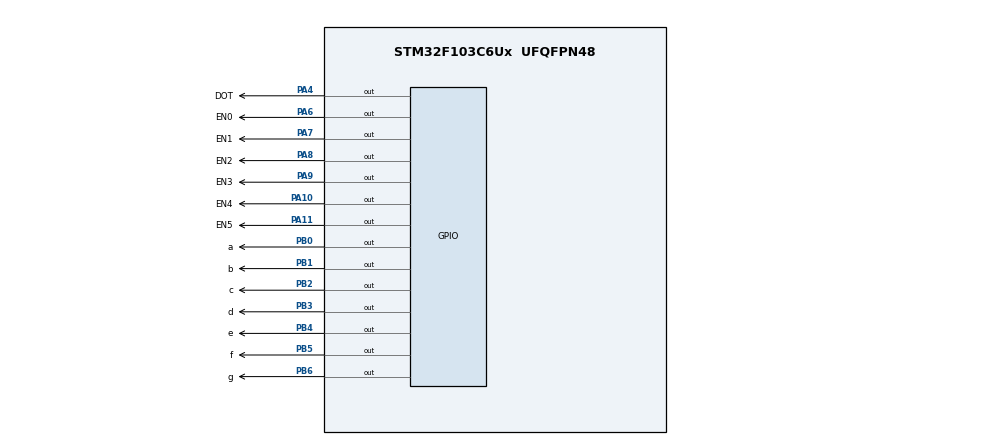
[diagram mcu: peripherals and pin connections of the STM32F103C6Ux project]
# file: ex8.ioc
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Mcu.Family=STM32F1
Mcu.Name=STM32F103C6Ux
Mcu.Package=UFQFPN48
NVIC.PriorityGroup=NVIC_PRIORITYGROUP_4
NVIC.TIM2_IRQn=true\:0\:0\:false\:false\:true\:true\:true
PA10.GPIO_Label=EN4
PA10.Signal=GPIO_Output
PA11.GPIO_Label=EN5
PA11.Signal=GPIO_Output
PA4.GPIO_Label=DOT
PA4.Signal=GPIO_Output
PA6.GPIO_Label=EN0
PA6.Signal=GPIO_Output
PA7.GPIO_Label=EN1
PA7.Signal=GPIO_Output
PA8.GPIO_Label=EN2
PA8.Signal=GPIO_Output
PA9.GPIO_Label=EN3
PA9.Signal=GPIO_Output
PB0.GPIO_Label=a
PB0.Signal=GPIO_Output
PB1.GPIO_Label=b
PB1.Signal=GPIO_Output
PB2.GPIO_Label=c
PB2.Signal=GPIO_Output
PB3.GPIO_Label=d
PB3.Signal=GPIO_Output
PB4.GPIO_Label=e
PB4.Signal=GPIO_Output
PB5.GPIO_Label=f
PB5.Signal=GPIO_Output
PB6.GPIO_Label=g
PB6.Signal=GPIO_Output
ProjectManager.HeapSize=0x200
ProjectManager.StackSize=0x400
ProjectManager.TargetToolchain=STM32CubeIDE
RCC.APB1Freq_Value=8000000
RCC.APB2Freq_Value=8000000
TIM2.Period=9
TIM2.Prescaler=7999
VP_SYS_VS_ND.Mode=No_Debug
VP_TIM2_VS_ClockSourceINT.Mode=Internal
board=custom

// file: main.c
/* USER CODE BEGIN Header */
/**
  ******************************************************************************
  * @file           : main.c
  * @brief          : Main program body
  ******************************************************************************
  * @attention
  *
  * <h2><center>&copy; Copyright (c) 2022 STMicroelectronics.
  * All rights reserved.</center></h2>
  *
  * This software component is licensed by ST under BSD 3-Clause license,
  * the "License"; You may not use this file except in compliance with the
  * License. You may obtain a copy of the License at:
  *                        opensource.org/licenses/BSD-3-Clause
  *
  ******************************************************************************
  */
/* USER CODE END Header */
#include "main.h"

TIM_HandleTypeDef htim2;

void SystemClock_Config(void);
static void MX_GPIO_Init(void);
static void MX_TIM2_Init(void);

/* USER CODE BEGIN 0 */
int timer0_counter = 0;
int timer0_flag = 0;
int timer1_counter = 0;
int timer1_flag = 0;
int TIMER_CYCLE = 10;
int index_led = 0;
void setTimer0(int duration){
	timer0_counter = duration/TIMER_CYCLE;
	timer0_flag= 0;
}
void timer_run0(){
	if (timer0_counter > 0){
		timer0_counter--;
		if (timer0_counter == 0) timer0_flag = 1;
	}
}
void setTimer1(int duration){
	timer1_counter = duration/TIMER_CYCLE;
	timer1_flag= 0;
}
void timer_run1(){
	if (timer1_counter > 0){
		timer1_counter--;
		if (timer1_counter == 0) timer1_flag = 1;
	}
}
/* USER CODE END 0 */

int main(void)
{

  /* MCU Configuration--------------------------------------------------------*/

  /* Reset of all peripherals, Initializes the Flash interface and the Systick. */
  HAL_Init();

  /* Configure the system clock */
  SystemClock_Config();

  /* Initialize all configured peripherals */
  MX_GPIO_Init();
  MX_TIM2_Init();
  /* USER CODE BEGIN 2 */
  HAL_TIM_Base_Start_IT(&htim2);
  /* USER CODE END 2 */

  /* Infinite loop */
  /* USER CODE BEGIN WHILE */

  int hour = 15, minute = 38, second = 50;
  setTimer0(1000);
  setTimer1(500);
  while (1)
  {
    /* USER CODE END WHILE */

    /* USER CODE BEGIN 3 */
	  	if (timer0_flag == 1){
	  		setTimer0(1000);
	  		second++;
	  		HAL_GPIO_TogglePin(DOT_GPIO_Port, DOT_Pin);
	  	}
	  	if (second >=60){
	  		second = 0;
	  		minute++;
	  	}
	  	if (minute >= 60){
	  		minute = 0;
	  		hour++;
	  	}
	  	if (hour>=24){
	  		hour = 0;
	  	}
        updateClockBuffer(hour,minute);
        if (timer1_flag == 1){
        	  		setTimer1(500);
        	  		update7SEG(index_led++);
        }

  }
  /* USER CODE END 3 */
}

void SystemClock_Config(void)
{
  RCC_OscInitTypeDef RCC_OscInitStruct = {0};
  RCC_ClkInitTypeDef RCC_ClkInitStruct = {0};

  /** Initializes the RCC Oscillators according to the specified parameters
  * in the RCC_OscInitTypeDef structure.
  */
  RCC_OscInitStruct.OscillatorType = RCC_OSCILLATORTYPE_HSI;
  RCC_OscInitStruct.HSIState = RCC_HSI_ON;
  RCC_OscInitStruct.HSICalibrationValue = RCC_HSICALIBRATION_DEFAULT;
  RCC_OscInitStruct.PLL.PLLState = RCC_PLL_NONE;
  if (HAL_RCC_OscConfig(&RCC_OscInitStruct) != HAL_OK)
  {
    Error_Handler();
  }
  /** Initializes the CPU, AHB and APB buses clocks
  */
  RCC_ClkInitStruct.ClockType = RCC_CLOCKTYPE_HCLK|RCC_CLOCKTYPE_SYSCLK
                              |RCC_CLOCKTYPE_PCLK1|RCC_CLOCKTYPE_PCLK2;
  RCC_ClkInitStruct.SYSCLKSource = RCC_SYSCLKSOURCE_HSI;
  RCC_ClkInitStruct.AHBCLKDivider = RCC_SYSCLK_DIV1;
  RCC_ClkInitStruct.APB1CLKDivider = RCC_HCLK_DIV1;
  RCC_ClkInitStruct.APB2CLKDivider = RCC_HCLK_DIV1;

  if (HAL_RCC_ClockConfig(&RCC_ClkInitStruct, FLASH_LATENCY_0) != HAL_OK)
  {
    Error_Handler();
  }
}

static void MX_TIM2_Init(void)
{

  TIM_ClockConfigTypeDef sClockSourceConfig = {0};
  TIM_MasterConfigTypeDef sMasterConfig = {0};

  htim2.Instance = TIM2;
  htim2.Init.Prescaler = 7999;
  htim2.Init.CounterMode = TIM_COUNTERMODE_UP;
  htim2.Init.Period = 9;
  htim2.Init.ClockDivision = TIM_CLOCKDIVISION_DIV1;
  htim2.Init.AutoReloadPreload = TIM_AUTORELOAD_PRELOAD_DISABLE;
  if (HAL_TIM_Base_Init(&htim2) != HAL_OK)
  {
    Error_Handler();
  }
  sClockSourceConfig.ClockSource = TIM_CLOCKSOURCE_INTERNAL;
  if (HAL_TIM_ConfigClockSource(&htim2, &sClockSourceConfig) != HAL_OK)
  {
    Error_Handler();
  }
  sMasterConfig.MasterOutputTrigger = TIM_TRGO_RESET;
  sMasterConfig.MasterSlaveMode = TIM_MASTERSLAVEMODE_DISABLE;
  if (HAL_TIMEx_MasterConfigSynchronization(&htim2, &sMasterConfig) != HAL_OK)
  {
    Error_Handler();
  }

}

static void MX_GPIO_Init(void)
{
  GPIO_InitTypeDef GPIO_InitStruct = {0};

  /* GPIO Ports Clock Enable */
  __HAL_RCC_GPIOA_CLK_ENABLE();
  __HAL_RCC_GPIOB_CLK_ENABLE();

  /*Configure GPIO pin Output Level */
  HAL_GPIO_WritePin(GPIOA, DOT_Pin|EN0_Pin|EN1_Pin|EN2_Pin
                          |EN3_Pin|EN4_Pin|EN5_Pin, GPIO_PIN_RESET);

  /*Configure GPIO pin Output Level */
  HAL_GPIO_WritePin(GPIOB, a_Pin|b_Pin|c_Pin|d_Pin
                          |e_Pin|f_Pin|g_Pin, GPIO_PIN_RESET);

  /*Configure GPIO pins : DOT_Pin EN0_Pin EN1_Pin EN2_Pin
                           EN3_Pin EN4_Pin EN5_Pin */
  GPIO_InitStruct.Pin = DOT_Pin|EN0_Pin|EN1_Pin|EN2_Pin
                          |EN3_Pin|EN4_Pin|EN5_Pin;
  GPIO_InitStruct.Mode = GPIO_MODE_OUTPUT_PP;
  GPIO_InitStruct.Pull = GPIO_NOPULL;
  GPIO_InitStruct.Speed = GPIO_SPEED_FREQ_LOW;
  HAL_GPIO_Init(GPIOA, &GPIO_InitStruct);

  /*Configure GPIO pins : a_Pin b_Pin c_Pin d_Pin
                           e_Pin f_Pin g_Pin */
  GPIO_InitStruct.Pin = a_Pin|b_Pin|c_Pin|d_Pin
                          |e_Pin|f_Pin|g_Pin;
  GPIO_InitStruct.Mode = GPIO_MODE_OUTPUT_PP;
  GPIO_InitStruct.Pull = GPIO_NOPULL;
  GPIO_InitStruct.Speed = GPIO_SPEED_FREQ_LOW;
  HAL_GPIO_Init(GPIOB, &GPIO_InitStruct);

}

/* USER CODE BEGIN 4 */
const int MAX_LED = 4;

int led_buffer[4];
void updateClockBuffer(int hour, int minute){
	  int a = hour%10;
	  hour = hour/10;
	  led_buffer[0]= hour;
	  led_buffer[1] = a;
	  int b = minute%10;
	  minute = minute/10;
	  led_buffer[2]= minute;
	  led_buffer[3] = b;
}
void update7SEG (int index) {
   switch (index) {
     case 0:
       // Display the first 7 SEG with led_buffer [0]
  	  HAL_GPIO_WritePin(EN0_GPIO_Port, EN0_Pin,0);
  	  HAL_GPIO_WritePin(EN1_GPIO_Port, EN1_Pin,1);
	  HAL_GPIO_WritePin(EN2_GPIO_Port, EN2_Pin,1);
	  HAL_GPIO_WritePin(EN3_GPIO_Port, EN3_Pin,1);
       Display7SEG(led_buffer[index]);
       break ;
     case 1:
       // Display the second 7 SEG with led_buffer [1]
       HAL_GPIO_WritePin(EN0_GPIO_Port, EN0_Pin,1);
       HAL_GPIO_WritePin(EN1_GPIO_Port, EN1_Pin,0);
       HAL_GPIO_WritePin(EN2_GPIO_Port, EN2_Pin,1);
       HAL_GPIO_WritePin(EN3_GPIO_Port, EN3_Pin,1);
       Display7SEG(led_buffer[index]);
       break ;
     case 2:
       // Display the third 7 SEG with led_buffer [2]
    	 HAL_GPIO_WritePin(EN0_GPIO_Port, EN0_Pin,1);
    	 HAL_GPIO_WritePin(EN1_GPIO_Port, EN1_Pin,1);
    	 HAL_GPIO_WritePin(EN2_GPIO_Port, EN2_Pin,0);
    	 HAL_GPIO_WritePin(EN3_GPIO_Port, EN3_Pin,1);
       Display7SEG(led_buffer[index]);
       break ;
     case 3:
       // Display the forth 7 SEG with led_buffer [3]
    	 HAL_GPIO_WritePin(EN0_GPIO_Port, EN0_Pin,1);
    	  	 HAL_GPIO_WritePin(EN1_GPIO_Port, EN1_Pin,1);
    		 HAL_GPIO_WritePin(EN2_GPIO_Port, EN2_Pin,1);
    		 HAL_GPIO_WritePin(EN3_GPIO_Port, EN3_Pin,0);
       index_led = 0;
       Display7SEG(led_buffer[index]);
       break ;

     default :
       break ;
   }
}
void Display7SEG(int count){
	switch (count) {
		case 0:
			HAL_GPIO_WritePin(a_GPIO_Port, a_Pin, 0);
			HAL_GPIO_WritePin(b_GPIO_Port, b_Pin, 0);
			HAL_GPIO_WritePin(c_GPIO_Port, c_Pin, 0);
			HAL_GPIO_WritePin(d_GPIO_Port, d_Pin, 0);
			HAL_GPIO_WritePin(e_GPIO_Port, e_Pin, 0);
			HAL_GPIO_WritePin(f_GPIO_Port, f_Pin, 0);
			HAL_GPIO_WritePin(g_GPIO_Port, g_Pin, 1);
			break;
		case 1:
				HAL_GPIO_WritePin(a_GPIO_Port, a_Pin, 1);
				HAL_GPIO_WritePin(b_GPIO_Port, b_Pin, 0);
				HAL_GPIO_WritePin(c_GPIO_Port, c_Pin, 0);
				HAL_GPIO_WritePin(d_GPIO_Port, d_Pin, 1);
				HAL_GPIO_WritePin(e_GPIO_Port, e_Pin, 1);
				HAL_GPIO_WritePin(f_GPIO_Port, f_Pin, 1);
				HAL_GPIO_WritePin(g_GPIO_Port, g_Pin, 1);
				break;
		case 2:
				HAL_GPIO_WritePin(a_GPIO_Port, a_Pin, 0);
				HAL_GPIO_WritePin(b_GPIO_Port, b_Pin, 0);
				HAL_GPIO_WritePin(c_GPIO_Port, c_Pin, 1);
				HAL_GPIO_WritePin(d_GPIO_Port, d_Pin, 0);
				HAL_GPIO_WritePin(e_GPIO_Port, e_Pin, 0);
				HAL_GPIO_WritePin(f_GPIO_Port, f_Pin, 1);
				HAL_GPIO_WritePin(g_GPIO_Port, g_Pin, 0);
				break;
		case 3:
				HAL_GPIO_WritePin(a_GPIO_Port, a_Pin, 0);
				HAL_GPIO_WritePin(b_GPIO_Port, b_Pin, 0);
				HAL_GPIO_WritePin(c_GPIO_Port, c_Pin, 0);
				HAL_GPIO_WritePin(d_GPIO_Port, d_Pin, 0);
				HAL_GPIO_WritePin(e_GPIO_Port, e_Pin, 1);
				HAL_GPIO_WritePin(f_GPIO_Port, f_Pin, 1);
				HAL_GPIO_WritePin(g_GPIO_Port, g_Pin, 0);
				break;
		case 4:
				HAL_GPIO_WritePin(a_GPIO_Port, a_Pin, 1);
				HAL_GPIO_WritePin(b_GPIO_Port, b_Pin, 0);
				HAL_GPIO_WritePin(c_GPIO_Port, c_Pin, 0);
				HAL_GPIO_WritePin(d_GPIO_Port, d_Pin, 1);
				HAL_GPIO_WritePin(e_GPIO_Port, e_Pin, 1);
				HAL_GPIO_WritePin(f_GPIO_Port, f_Pin, 0);
				HAL_GPIO_WritePin(g_GPIO_Port, g_Pin, 0);
				break;
		case 5:
				HAL_GPIO_WritePin(a_GPIO_Port, a_Pin, 0);
				HAL_GPIO_WritePin(b_GPIO_Port, b_Pin, 1);
				HAL_GPIO_WritePin(c_GPIO_Port, c_Pin, 0);
				HAL_GPIO_WritePin(d_GPIO_Port, d_Pin, 0);
				HAL_GPIO_WritePin(e_GPIO_Port, e_Pin, 1);
				HAL_GPIO_WritePin(f_GPIO_Port, f_Pin, 0);
				HAL_GPIO_WritePin(g_GPIO_Port, g_Pin, 0);
				break;
		case 6:
				HAL_GPIO_WritePin(a_GPIO_Port, a_Pin, 0);
				HAL_GPIO_WritePin(b_GPIO_Port, b_Pin, 1);
				HAL_GPIO_WritePin(c_GPIO_Port, c_Pin, 0);
				HAL_GPIO_WritePin(d_GPIO_Port, d_Pin, 0);
				HAL_GPIO_WritePin(e_GPIO_Port, e_Pin, 0);
				HAL_GPIO_WritePin(f_GPIO_Port, f_Pin, 0);
				HAL_GPIO_WritePin(g_GPIO_Port, g_Pin, 0);
				break;
		case 7:
				HAL_GPIO_WritePin(a_GPIO_Port, a_Pin, 0);
				HAL_GPIO_WritePin(b_GPIO_Port, b_Pin, 0);
				HAL_GPIO_WritePin(c_GPIO_Port, c_Pin, 0);
				HAL_GPIO_WritePin(d_GPIO_Port, d_Pin, 1);
				HAL_GPIO_WritePin(e_GPIO_Port, e_Pin, 1);
				HAL_GPIO_WritePin(f_GPIO_Port, f_Pin, 1);
				HAL_GPIO_WritePin(g_GPIO_Port, g_Pin, 1);
				break;
		case 8:
				HAL_GPIO_WritePin(a_GPIO_Port, a_Pin, 0);
				HAL_GPIO_WritePin(b_GPIO_Port, b_Pin, 0);
				HAL_GPIO_WritePin(c_GPIO_Port, c_Pin, 0);
				HAL_GPIO_WritePin(d_GPIO_Port, d_Pin, 0);
				HAL_GPIO_WritePin(e_GPIO_Port, e_Pin, 0);
				HAL_GPIO_WritePin(f_GPIO_Port, f_Pin, 0);
				HAL_GPIO_WritePin(g_GPIO_Port, g_Pin, 0);
				break;
		case 9:
				HAL_GPIO_WritePin(a_GPIO_Port, a_Pin, 0);
				HAL_GPIO_WritePin(b_GPIO_Port, b_Pin, 0);
				HAL_GPIO_WritePin(c_GPIO_Port, c_Pin, 0);
				HAL_GPIO_WritePin(d_GPIO_Port, d_Pin, 0);
				HAL_GPIO_WritePin(e_GPIO_Port, e_Pin, 1);
				HAL_GPIO_WritePin(f_GPIO_Port, f_Pin, 0);
				HAL_GPIO_WritePin(g_GPIO_Port, g_Pin, 0);
				break;
		default:
			break;
	}
}
void HAL_TIM_PeriodElapsedCallback(TIM_HandleTypeDef * htim){
	timer_run0();
	timer_run1();
}
/* USER CODE END 4 */

void Error_Handler(void)
{
  __disable_irq();
  while (1)
  {
  }
}

/************************ (C) COPYRIGHT STMicroelectronics *****END OF FILE****/
